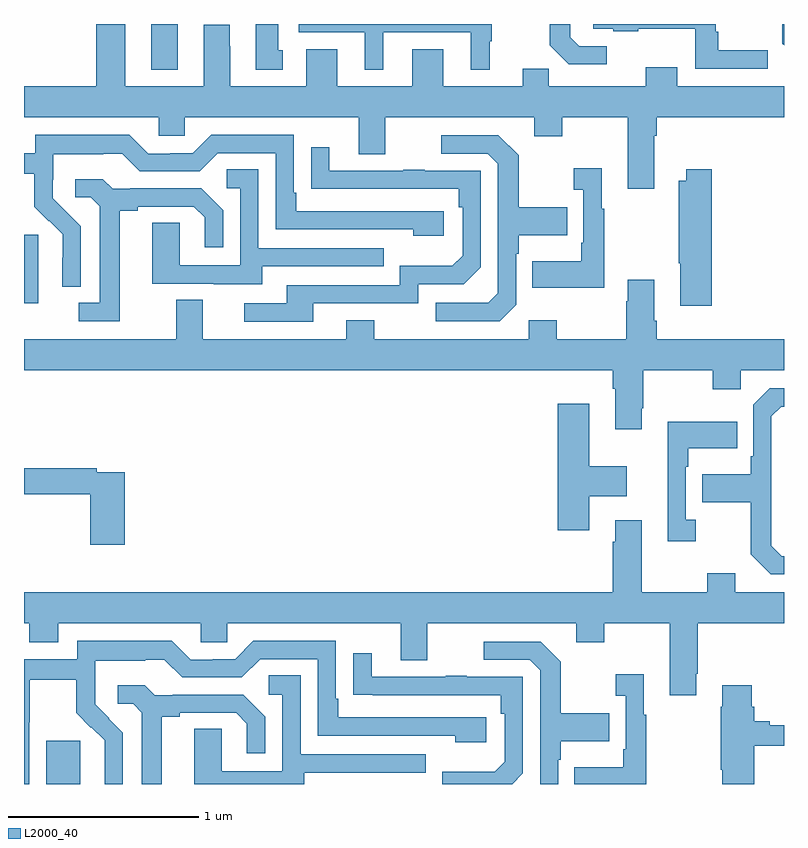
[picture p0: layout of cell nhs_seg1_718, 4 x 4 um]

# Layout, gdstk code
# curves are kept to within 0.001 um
import gdstk
lib = gdstk.Library(unit=1e-6, precision=1e-09)
def R(c, l, rs):  # rectangles x0, y0, x1, y1
    for r in rs: c.add(gdstk.rectangle(r[:2], r[2:], *l))
def P(c, l, *ps):  # polygons
    for p in ps: c.add(gdstk.Polygon(p, *l))
L2000_40 = (2000, 40)

nhs_seg1_718 = lib.new_cell('nhs_seg1_718')
R(nhs_seg1_718, L2000_40, [(149.117,572.199,149.296,572.427), (149,574.73,149.074,575.091), (149.669,575.957,149.809,576.199), (149,576.198,149.064,576.199)])
P(nhs_seg1_718, L2000_40, [(150.892,576.156),(151.352,576.156),(151.352,575.957),(151.45,575.957),(151.45,576.108),(151.462,576.108),(151.462,576.199),(150.447,576.199),(150.447,576.156),(150.794,576.156),(150.794,575.957),(150.892,575.957)],
  [(152.914,576.061),(152.653,576.061),(152.653,576.157),(152.64,576.157),(152.64,576.199),(151.997,576.199),(151.997,576.174),(152.101,576.174),(152.101,576.162),(152.233,576.162),(152.233,576.173),(152.532,576.173),(152.532,575.964),(152.914,575.964)],
  [(150.361,576.06),(150.337,576.06),(150.337,576.199),(150.221,576.199),(150.221,575.958),(150.361,575.958)],
  [(152.317,575.612),(152.33,575.612),(152.33,575.708),(153,575.708),(153,575.872),(152.437,575.872),(152.437,575.971),(152.273,575.971),(152.273,575.872),(151.763,575.872),(151.763,575.963),(151.625,575.963),(151.625,575.872),(151.207,575.872),(151.207,576.067),(151.043,576.067),(151.043,575.872),(150.649,575.872),(150.649,576.067),(150.485,576.067),(150.485,575.872),(150.085,575.872),(150.085,576.083),(150.082,576.083),(150.082,576.196),(149.945,576.196),(149.945,575.872),(149.533,575.872),(149.533,576.199),(149.381,576.199),(149.381,575.872),(149,575.872),(149,575.708),(149.709,575.708),(149.709,575.61),(149.847,575.61),(149.847,575.708),(150.761,575.708),(150.761,575.514),(150.901,575.514),(150.901,575.708),(151.685,575.708),(151.685,575.609),(151.833,575.609),(151.833,575.708),(152.177,575.708),(152.177,575.331),(152.317,575.331)],
  [(153,576.199),(152.73,576.199),(152.73,576.197),(152.992,576.197),(152.992,576.095),(153,576.087)],
  [(152.068,576.081),(151.923,576.081),(151.876,576.128),(151.876,576.199),(151.767,576.199),(151.767,576.087),(151.867,575.987),(152.068,575.987)],
  [(149.298,575.134),(149.152,575.282),(149.152,575.379),(149.154,575.379),(149.154,575.513),(149.417,575.513),(149.417,575.517),(149.517,575.517),(149.61,575.424),(149.925,575.424),(150.021,575.52),(150.324,575.52),(150.324,575.118),(151.049,575.118),(151.049,575.084),(151.21,575.084),(151.21,575.214),(150.433,575.214),(150.433,575.311),(150.42,575.311),(150.42,575.616),(149.985,575.616),(149.889,575.52),(149.771,575.52),(149.771,575.517),(149.655,575.517),(149.555,575.617),(149.058,575.617),(149.058,575.52),(149,575.52),(149,575.412),(149.053,575.412),(149.053,575.237),(149.13,575.16),(149.133,575.163),(149.204,575.093),(149.204,574.97),(149.202,574.97),(149.202,574.816),(149.298,574.816)],
  [(151.59,574.722),(151.59,574.991),(151.603,574.991),(151.603,575.087),(151.859,575.087),(151.859,575.235),(151.603,575.235),(151.603,575.507),(151.497,575.613),(151.197,575.613),(151.197,575.517),(151.44,575.517),(151.494,575.463),(151.494,574.782),(151.443,574.731),(151.167,574.731),(151.167,574.635),(151.503,574.635)],
  [(150.523,574.728),(151.074,574.728),(151.074,574.83),(151.314,574.83),(151.404,574.92),(151.404,575.427),(151.109,575.427),(151.109,575.432),(150.997,575.432),(150.997,575.427),(150.607,575.427),(150.607,575.551),(150.511,575.551),(150.511,575.332),(151.288,575.331),(151.288,575.234),(151.308,575.234),(151.308,574.98),(151.255,574.927),(150.978,574.927),(150.978,574.824),(150.383,574.824),(150.383,574.728),(150.159,574.728),(150.159,574.632),(150.523,574.632)],
  [(152.053,575.227),(152.041,575.227),(152.041,575.44),(151.893,575.44),(151.893,575.327),(151.944,575.327),(151.944,575.047),(151.932,575.047),(151.932,574.951),(151.675,574.951),(151.675,574.811),(152.053,574.811)],
  [(150.253,574.923),(150.893,574.923),(150.893,575.019),(150.234,575.019),(150.234,575.435),(150.066,575.435),(150.066,575.334),(150.138,575.334),(150.138,574.929),(149.82,574.929),(149.82,575.153),(149.675,575.153),(149.675,574.833),(149.999,574.833),(149.999,574.829),(150.253,574.829)],
  [(152.621,575.434),(152.486,575.434),(152.486,575.374),(152.446,575.374),(152.446,574.939),(152.453,574.939),(152.453,574.716),(152.621,574.716)],
  [(149.503,575.216),(149.599,575.216),(149.599,575.238),(149.894,575.238),(149.951,575.181),(149.951,575.025),(150.048,575.025),(150.048,575.218),(149.932,575.334),(149.56,575.334),(149.56,575.331),(149.466,575.331),(149.414,575.383),(149.271,575.383),(149.271,575.286),(149.352,575.286),(149.399,575.239),(149.399,574.731),(149.289,574.731),(149.289,574.635),(149.503,574.635)],
  [(152.251,574.177),(152.259,574.177),(152.259,574.376),(152.626,574.376),(152.626,574.277),(152.772,574.277),(152.772,574.376),(153,574.376),(153,574.54),(152.33,574.54),(152.33,574.636),(152.317,574.636),(152.317,574.852),(152.177,574.852),(152.177,574.739),(152.17,574.739),(152.17,574.54),(151.803,574.54),(151.803,574.639),(151.656,574.639),(151.656,574.54),(150.843,574.54),(150.843,574.639),(150.695,574.639),(150.695,574.54),(149.941,574.54),(149.941,574.748),(149.801,574.748),(149.801,574.54),(149,574.54),(149,574.376),(152.099,574.376),(152.099,574.28),(152.111,574.28),(152.111,574.065),(152.251,574.065)],
  [(153,573.399),(152.988,573.399),(152.934,573.453),(152.934,574.134),(152.985,574.185),(153,574.185),(153,574.281),(152.925,574.281),(152.838,574.194),(152.838,573.925),(152.826,573.925),(152.826,573.829),(152.569,573.829),(152.569,573.682),(152.826,573.682),(152.826,573.409),(152.931,573.303),(153,573.303)],
  [(151.975,573.713),(152.173,573.713),(152.173,573.871),(151.975,573.871),(151.975,574.201),(151.808,574.201),(151.808,573.534),(151.975,573.534)],
  [(152.536,573.59),(152.484,573.59),(152.484,573.869),(152.497,573.869),(152.497,573.965),(152.753,573.965),(152.753,574.105),(152.387,574.105),(152.387,573.477),(152.536,573.477)],
  [(149.531,573.84),(149.384,573.84),(149.384,573.86),(149,573.86),(149,573.724),(149.348,573.724),(149.348,573.459),(149.531,573.459)],
  [(149,573.044),(149.027,573.044),(149.027,572.945),(149.179,572.945),(149.179,573.044),(149.931,573.044),(149.931,572.946),(150.069,572.946),(150.069,573.044),(150.983,573.044),(150.983,572.85),(151.123,572.85),(151.123,573.044),(151.907,573.044),(151.907,572.945),(152.055,572.945),(152.055,573.044),(152.399,573.044),(152.399,572.667),(152.539,572.667),(152.539,572.779),(152.547,572.779),(152.547,573.044),(153,573.044),(153,573.208),(152.743,573.208),(152.743,573.307),(152.596,573.307),(152.596,573.208),(152.251,573.208),(152.251,573.586),(152.111,573.586),(152.111,573.473),(152.099,573.473),(152.099,573.208),(149,573.208)],
  [(149.028,572.524),(149.031,572.524),(149.031,572.748),(149.275,572.748),(149.275,572.573),(149.352,572.496),(149.355,572.499),(149.426,572.429),(149.426,572.306),(149.424,572.306),(149.424,572.199),(149.52,572.199),(149.52,572.47),(149.374,572.618),(149.374,572.715),(149.376,572.715),(149.376,572.849),(149.639,572.849),(149.639,572.853),(149.739,572.853),(149.832,572.76),(150.147,572.76),(150.243,572.856),(150.546,572.856),(150.546,572.454),(151.271,572.454),(151.271,572.42),(151.432,572.42),(151.432,572.55),(150.655,572.55),(150.655,572.647),(150.642,572.647),(150.642,572.952),(150.207,572.952),(150.111,572.856),(149.993,572.856),(149.993,572.853),(149.877,572.853),(149.777,572.953),(149.28,572.953),(149.28,572.856),(149,572.856),(149,572.199),(149.028,572.199)],
  [(151.812,572.327),(151.825,572.327),(151.825,572.423),(152.081,572.423),(152.081,572.571),(151.825,572.571),(151.825,572.843),(151.719,572.949),(151.419,572.949),(151.419,572.853),(151.662,572.853),(151.716,572.799),(151.716,572.199),(151.812,572.199)],
  [(151.626,572.256),(151.626,572.763),(151.331,572.763),(151.331,572.768),(151.219,572.768),(151.219,572.763),(150.829,572.763),(150.829,572.887),(150.733,572.887),(150.733,572.668),(151.51,572.667),(151.51,572.57),(151.53,572.57),(151.53,572.316),(151.477,572.263),(151.2,572.263),(151.2,572.199),(151.569,572.199)],
  [(152.275,572.563),(152.263,572.563),(152.263,572.776),(152.115,572.776),(152.115,572.663),(152.166,572.663),(152.166,572.383),(152.154,572.383),(152.154,572.287),(151.897,572.287),(151.897,572.199),(152.275,572.199)],
  [(150.475,572.259),(151.115,572.259),(151.115,572.355),(150.456,572.355),(150.456,572.771),(150.288,572.771),(150.288,572.67),(150.36,572.67),(150.36,572.265),(150.042,572.265),(150.042,572.489),(149.897,572.489),(149.897,572.199),(150.475,572.199)],
  [(149.725,572.552),(149.821,572.552),(149.821,572.574),(150.116,572.574),(150.173,572.517),(150.173,572.361),(150.27,572.361),(150.27,572.554),(150.154,572.67),(149.782,572.67),(149.782,572.667),(149.688,572.667),(149.636,572.719),(149.493,572.719),(149.493,572.622),(149.574,572.622),(149.621,572.575),(149.621,572.199),(149.725,572.199)],
  [(152.843,572.4),(153,572.4),(153,572.509),(152.926,572.509),(152.926,572.528),(152.843,572.528),(152.843,572.606),(152.83,572.606),(152.83,572.719),(152.675,572.719),(152.675,572.606),(152.668,572.606),(152.668,572.275),(152.675,572.275),(152.675,572.199),(152.843,572.199)])

lib.write_gds('nhs_seg1_718.gds')
